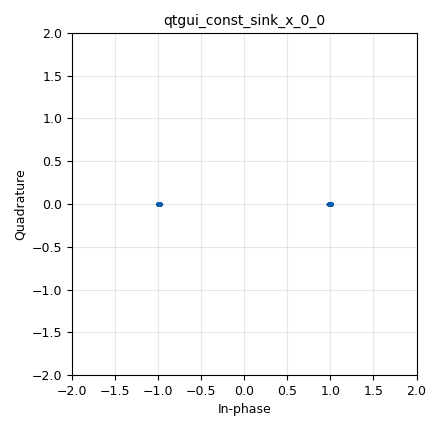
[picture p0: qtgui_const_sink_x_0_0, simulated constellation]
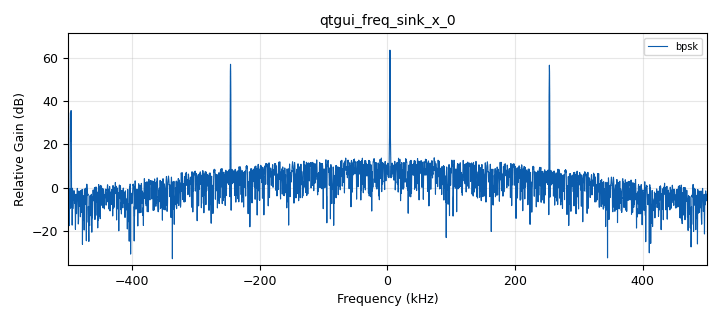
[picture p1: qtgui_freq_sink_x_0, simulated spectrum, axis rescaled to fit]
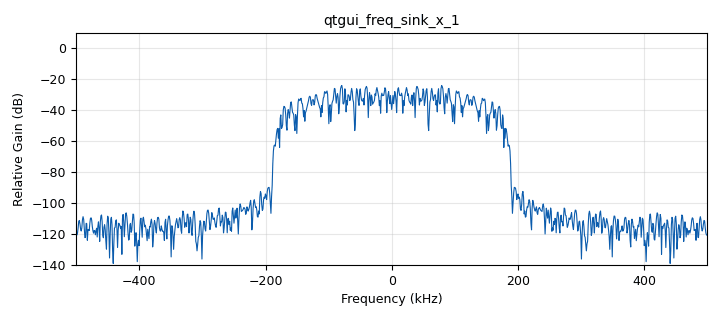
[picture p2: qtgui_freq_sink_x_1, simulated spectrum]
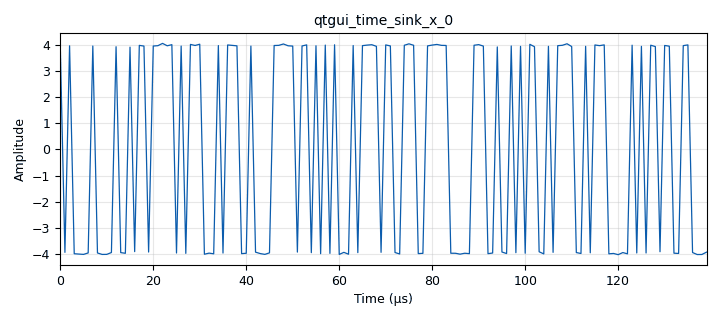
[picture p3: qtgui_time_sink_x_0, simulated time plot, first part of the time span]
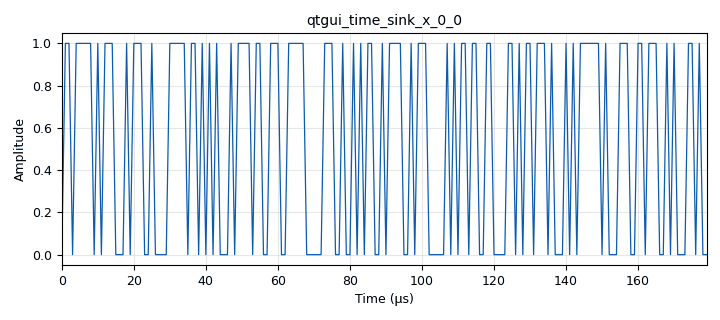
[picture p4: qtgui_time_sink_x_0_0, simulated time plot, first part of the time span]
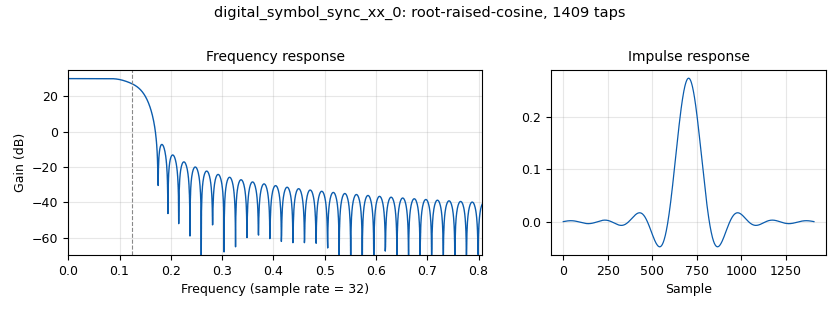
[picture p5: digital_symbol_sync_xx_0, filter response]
options:
  parameters:
    generate_options: qt_gui
    id: QAM
    output_language: python
    title: Not titled yet
  states: {}

blocks:
- name: N
  id: variable
  parameters:
    value: 1024*4
  states: {}
- name: bw
  id: variable
  parameters:
    value: '.5'
  states: {}
- name: const_bpsk
  id: variable_constellation
  parameters:
    precision: '8'
    type: bpsk
  states: {}
- name: dV
  id: variable_qtgui_range
  parameters:
    start: '0'
    step: '.01'
    stop: '1'
    value: '0'
  states: {}
- name: nfilts
  id: variable
  parameters:
    value: '32'
  states: {}
- name: rrc
  id: variable
  parameters:
    value: firdes.root_raised_cosine(nfilts, nfilts, 1.0/float(sps), 0.35, 11*sps*nfilts)
  states: {}
- name: samp_rate
  id: variable
  parameters:
    value: 1e6
  states: {}
- name: sps
  id: variable
  parameters:
    value: '4'
  states: {}
- name: blocks_add_const_vxx_0
  id: blocks_add_const_vxx
  parameters:
    const: '1'
    type: float
  states: {}
- name: blocks_char_to_float_0
  id: blocks_char_to_float
  parameters:
    scale: '1'
  states: {}
- name: blocks_float_to_char_0
  id: blocks_float_to_char
  parameters:
    scale: '.5'
  states: {}
- name: blocks_multiply_conjugate_cc_0
  id: blocks_multiply_conjugate_cc
  parameters:
    comment: correlation=FFT(s).FFT^*(c)
    vlen: N
  states: {}
- name: blocks_pack_k_bits_bb_0
  id: blocks_pack_k_bits_bb
  parameters:
    k: '8'
  states: {}
- name: blocks_stream_to_vector_0
  id: blocks_stream_to_vector
  parameters:
    num_items: N
    type: float
  states: {}
- name: blocks_stream_to_vector_0_0
  id: blocks_stream_to_vector
  parameters:
    num_items: N
    type: float
  states: {}
- name: blocks_throttle_0
  id: blocks_throttle
  parameters:
    samples_per_second: samp_rate
    type: float
  states: {}
- name: blocks_vector_to_stream_0
  id: blocks_vector_to_stream
  parameters:
    num_items: N
    type: complex
  states: {}
- name: channels_channel_model_0
  id: channels_channel_model
  parameters:
    comment: add noise and frequency offset
    epsilon: '1.0'
    freq_offset: '0.0'
    noise_voltage: dV
    seed: '0'
    taps: '1'
  states: {}
- name: digital_constellation_modulator_0
  id: digital_constellation_modulator
  parameters:
    constellation: const_bpsk
    differential: 'False'
    excess_bw: bw
    samples_per_symbol: sps
  states: {}
- name: digital_constellation_soft_decoder_cf_0
  id: digital_constellation_soft_decoder_cf
  parameters:
    alias: polyphase
    constellation: const_bpsk
  states: {}
- name: digital_glfsr_source_x_0
  id: digital_glfsr_source_x
  parameters:
    degree: '10'
    mask: '0'
    repeat: 'True'
    seed: '1'
    type: float
  states: {}
- name: digital_symbol_sync_xx_0
  id: digital_symbol_sync_xx
  parameters:
    damping: '1.0'
    loop_bw: '0.063'
    max_dev: '1.5'
    nfilters: '32'
    osps: '1'
    pfb_mf_taps: rrc
    resamp_type: digital.IR_PFB_MF
    sps: sps
    ted_gain: '1.0'
    ted_type: digital.TED_MUELLER_AND_MULLER
    type: cc
  states: {}
- name: fft_vxx_0
  id: fft_vxx
  parameters:
    fft_size: N
    forward: 'False'
    shift: 'True'
    type: float
    window: window.blackmanharris(N)
  states: {}
- name: fft_vxx_0_0
  id: fft_vxx
  parameters:
    fft_size: N
    forward: 'False'
    shift: 'True'
    type: float
    window: window.blackmanharris(N)
  states: {}
- name: qtgui_const_sink_x_0_0
  id: qtgui_const_sink_x
  parameters:
    size: '1024'
    type: complex
  states: {}
- name: qtgui_freq_sink_x_0
  id: qtgui_freq_sink_x
  parameters:
    bw: samp_rate
    fc: '0'
    fftsize: N
    label1: '"bpsk"'
    type: complex
    ymax: '60'
    ymin: '-5'
  states: {}
- name: qtgui_freq_sink_x_1
  id: qtgui_freq_sink_x
  parameters:
    bw: samp_rate
    fc: '0'
    fftsize: '1024'
    type: complex
  states: {}
- name: qtgui_time_sink_x_0
  id: qtgui_time_sink_x
  parameters:
    autoscale: 'True'
    size: '1024'
    srate: samp_rate
    type: float
  states: {}
- name: qtgui_time_sink_x_0_0
  id: qtgui_time_sink_x
  parameters:
    autoscale: 'True'
    size: '1024'
    srate: samp_rate
    type: float
  states: {}

connections:
- [blocks_add_const_vxx_0, '0', blocks_float_to_char_0, '0']
- [blocks_char_to_float_0, '0', qtgui_time_sink_x_0_0, '0']
- [blocks_float_to_char_0, '0', blocks_char_to_float_0, '0']
- [blocks_float_to_char_0, '0', blocks_pack_k_bits_bb_0, '0']
- [blocks_multiply_conjugate_cc_0, '0', blocks_vector_to_stream_0, '0']
- [blocks_pack_k_bits_bb_0, '0', digital_constellation_modulator_0, '0']
- [blocks_stream_to_vector_0, '0', fft_vxx_0_0, '0']
- [blocks_stream_to_vector_0_0, '0', fft_vxx_0, '0']
- [blocks_throttle_0, '0', blocks_stream_to_vector_0_0, '0']
- [blocks_vector_to_stream_0, '0', qtgui_freq_sink_x_0, '0']
- [channels_channel_model_0, '0', digital_symbol_sync_xx_0, '0']
- [channels_channel_model_0, '0', qtgui_freq_sink_x_1, '0']
- [digital_constellation_modulator_0, '0', channels_channel_model_0, '0']
- [digital_constellation_soft_decoder_cf_0, '0', blocks_stream_to_vector_0, '0']
- [digital_constellation_soft_decoder_cf_0, '0', qtgui_time_sink_x_0, '0']
- [digital_glfsr_source_x_0, '0', blocks_add_const_vxx_0, '0']
- [digital_glfsr_source_x_0, '0', blocks_throttle_0, '0']
- [digital_symbol_sync_xx_0, '0', digital_constellation_soft_decoder_cf_0, '0']
- [digital_symbol_sync_xx_0, '0', qtgui_const_sink_x_0_0, '0']
- [fft_vxx_0, '0', blocks_multiply_conjugate_cc_0, '1']
- [fft_vxx_0_0, '0', blocks_multiply_conjugate_cc_0, '0']

metadata:
  file_format: 1
